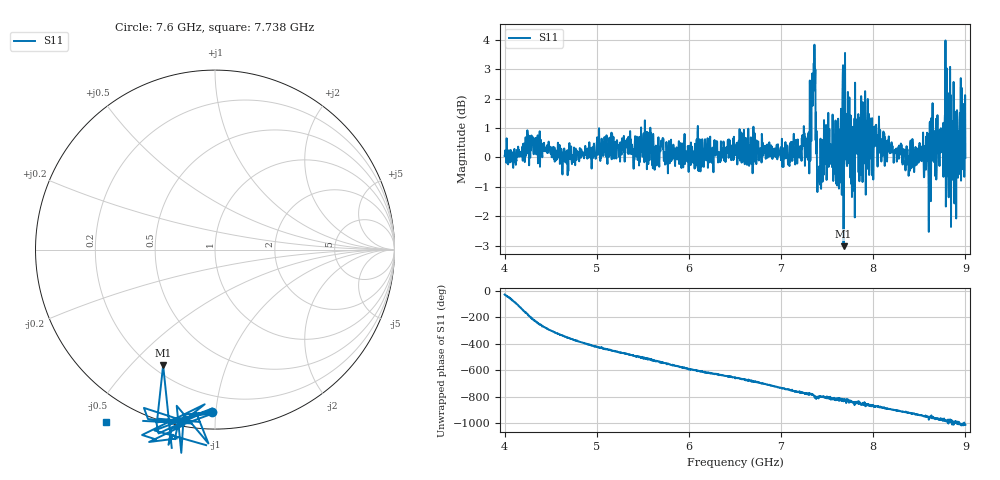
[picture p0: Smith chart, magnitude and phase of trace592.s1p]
! Created with skrf 1.8.0 (http://scikit-rf.org).
# Hz S RI R 50.0
!freq ReS11 ImS11
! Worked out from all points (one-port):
!   1601 points, 4 GHz to 9 GHz, reference 50 ohm
!   lowest |S11| = -3.0 dB at 7.678 GHz (marker M1), VSWR 5.81, Z = 12.1 - j31 ohm
!   |S11| at or under -10 dB: nowhere
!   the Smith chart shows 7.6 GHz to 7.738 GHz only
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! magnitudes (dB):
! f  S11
! 4 GHz  0.1
! 4.312 GHz  0.2
! 4.625 GHz  -0.4
! 5.25 GHz  0.3
! 5.875 GHz  0.1
! 6.5 GHz  0.3
! 7.125 GHz  0.3
! 7.294 GHz  0.8
! 7.347 GHz  2.6
! 7.362 GHz  3.8
! 7.4 GHz  -0.5
! 7.412 GHz  -0.7
! 7.491 GHz  0.4
! 7.619 GHz  1.3
! 7.678 GHz  -3.0
! 7.75 GHz  -0.5
! 7.775 GHz  1.0
! 7.828 GHz  0.1
! 7.909 GHz  0.7
! 7.928 GHz  0.0
! 7.981 GHz  -0.1
! 8.05 GHz  0.7
! 8.375 GHz  -0.2
! 8.603 GHz  -2.5
! 8.816 GHz  -0.4
! 8.869 GHz  -0.8
! 8.959 GHz  2.4
! 9 GHz  0.0
